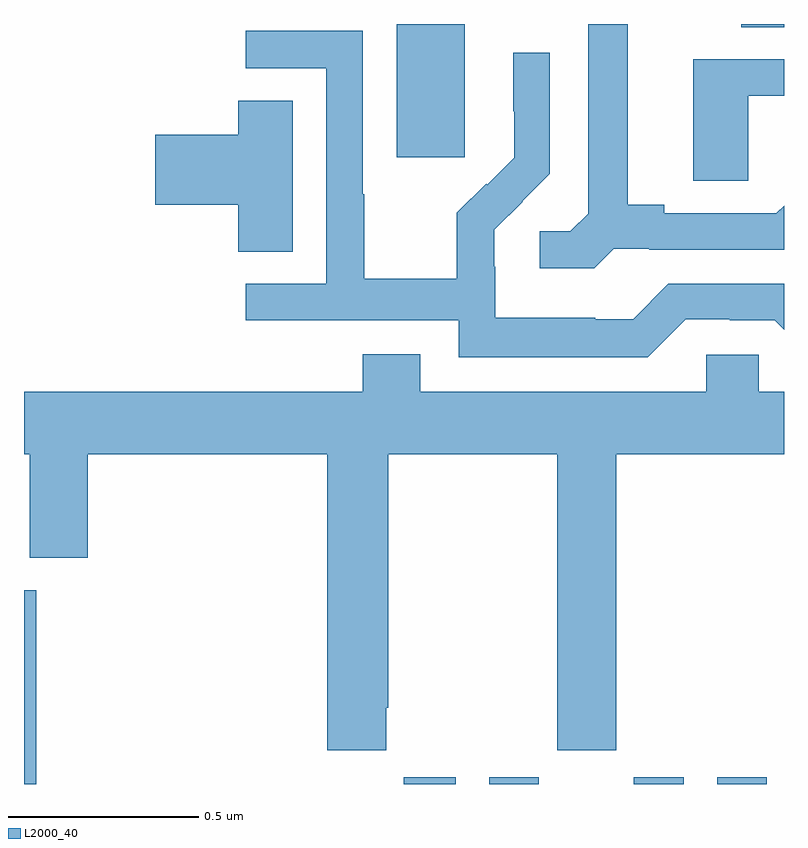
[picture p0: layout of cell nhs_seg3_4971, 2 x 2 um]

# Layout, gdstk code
import gdstk
lib = gdstk.Library(unit=1e-6, precision=1e-09)
def R(c, l, rs):  # rectangles x0, y0, x1, y1
    for r in rs: c.add(gdstk.rectangle(r[:2], r[2:], *l))
def P(c, l, *ps):  # polygons
    for p in ps: c.add(gdstk.Polygon(p, *l))
L2000_40 = (2000, 40)

nhs_seg3_4971 = lib.new_cell('nhs_seg3_4971')
R(nhs_seg3_4971, L2000_40, [(173,681.4,173.032,681.91), (173.999,681.4,174.136,681.418), (174.224,681.4,174.355,681.418), (174.605,681.4,174.736,681.418), (174.824,681.4,174.955,681.418), (173.981,683.049,174.16,683.4), (174.887,683.392,175,683.4)])
P(nhs_seg3_4971, L2000_40, [(174.552,682.809),(174.646,682.809),(174.646,682.806),(175,682.806),(175,682.922),(174.98,682.902),(174.685,682.902),(174.685,682.925),(174.589,682.925),(174.589,683.4),(174.485,683.4),(174.485,682.901),(174.438,682.854),(174.357,682.854),(174.357,682.757),(174.5,682.757)],
  [(174.741,682.623),(174.857,682.623),(174.857,682.62),(174.975,682.62),(175,682.595),(175,682.716),(174.696,682.716),(174.603,682.623),(174.503,682.623),(174.503,682.627),(174.24,682.627),(174.24,682.761),(174.238,682.761),(174.238,682.858),(174.312,682.932),(174.311,682.933),(174.384,683.006),(174.384,683.324),(174.288,683.324),(174.288,683.17),(174.29,683.17),(174.29,683.048),(174.219,682.977),(174.216,682.98),(174.139,682.903),(174.139,682.729),(173.895,682.729),(173.895,682.952),(173.892,682.952),(173.892,683.382),(173.583,683.382),(173.583,683.283),(173.796,683.283),(173.796,682.716),(173.583,682.716),(173.583,682.62),(174.144,682.62),(174.144,682.523),(174.641,682.523)],
  [(174.906,683.211),(175,683.211),(175,683.307),(174.761,683.307),(174.761,682.987),(174.906,682.987)],
  [(173.707,683.198),(173.564,683.198),(173.564,683.108),(173.346,683.108),(173.346,682.925),(173.564,682.925),(173.564,682.801),(173.707,682.801)],
  [(173.953,681.601),(173.958,681.601),(173.958,682.268),(174.403,682.268),(174.403,681.489),(174.558,681.489),(174.558,682.268),(175,682.268),(175,682.432),(174.933,682.432),(174.933,682.53),(174.795,682.53),(174.795,682.432),(174.043,682.432),(174.043,682.531),(173.891,682.531),(173.891,682.432),(173,682.432),(173,682.268),(173.015,682.268),(173.015,681.995),(173.168,681.995),(173.168,682.268),(173.798,682.268),(173.798,681.489),(173.953,681.489)])

lib.write_gds('nhs_seg3_4971.gds')
